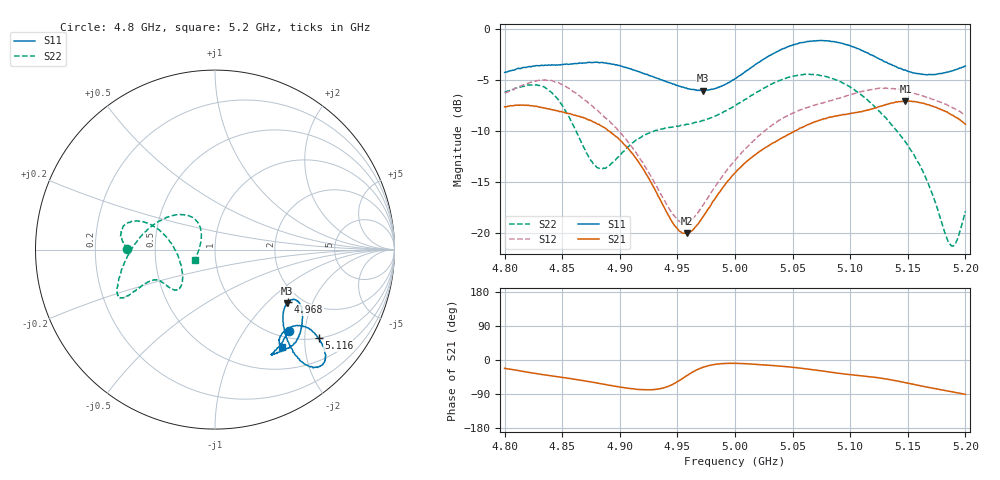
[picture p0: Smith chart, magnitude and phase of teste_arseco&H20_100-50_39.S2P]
! Network Analyzer HP8722D
! Hewlett-Packard
! Data name: Linha & Wilkinson
! Saver's name: Rodrigo Anjos
! Comments: Teste da utilização de aquisição
! continua pelo VNA HP8722D
! Time and date: 6/5/2025 12:53
!  Frequency  S11  S21  S12  S22
# HZ  S  MA R 50
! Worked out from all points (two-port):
!   401 points, 4.8 GHz to 5.2 GHz, reference 50 ohm
!   highest |S21| = -7.08 dB at 5.148 GHz (marker M1); lowest = -20.0 dB at 4.958 GHz (marker M2)
!   |S21| within 3 dB of the highest: start of sweep to 4.891 GHz; 5.051 GHz to end of sweep
!   lowest |S11| = -6.0 dB at 4.972 GHz (marker M3), VSWR 2.99, Z = 83.2 - j66.4 ohm
!   |S11| at or under -10 dB: nowhere
!   |S22| runs from -21.3 to -4.4 dB; largest |S21 - S12| = 0.95
!   S11 on the Smith chart (normalised r, x): 4.8 GHz: 1.13, -1.64; 4.968 GHz: 1.71, -1.33; 5.116 GHz: 1.01, -2.34; 5.2 GHz: 0.82, -1.57
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4.8e9  0.6127 -47.8  0.4155 -22.1  0.4856 -175.7  0.4927 179.9
4.836e9  0.6639 -61.6  0.4077 -39.9  0.5611 168.3  0.5114 163.7
4.851e9  0.6696 -59.9  0.3911 -46.4  0.53 158.4  0.4132 158.8
4.867e9  0.6787 -55.0  0.3691 -53.9  0.4597 150.7  0.275 166.0
4.886e9  0.6827 -48.6  0.3294 -63.8  0.3728 144.0  0.2081 -158.9
4.909e9  0.638 -40.5  0.2521 -75.2  0.271 137.8  0.2709 -133.6
4.934e9  0.5706 -33.1  0.1493 -76.4  0.1611 141.1  0.3213 -135.7
4.948e9  0.5333 -31.9  0.1079 -61.0  0.1199 157.2  0.3328 -141.3
4.958e9  0.5129 -33.1  0.0995 -41.6  0.1124 176.4  0.3408 -145.6
4.968e9  0.5001 -35.6  0.1106 -24.5  0.1262 -166.2  0.3491 -149.8
4.972e9  0.499 -37.0  0.1194 -19.3  0.1363 -161.2  0.3561 -150.9
5e9  0.5696 -47.9  0.1966 -9.0  0.2271 -146.9  0.4217 -154.1
5.039e9  0.7875 -52.4  0.2886 -16.2  0.3583 -148.0  0.5591 -151.9
5.067e9  0.8726 -48.4  0.3466 -25.3  0.4205 -154.5  0.5984 -155.2
5.089e9  0.8592 -44.4  0.3751 -34.6  0.4565 -160.3  0.5595 -163.3
5.116e9  0.7584 -40.5  0.4012 -44.1  0.502 -172.1  0.4425 175.2
5.134e9  0.6756 -40.2  0.4309 -51.6  0.5102 177.4  0.3491 152.9
5.148e9  0.6286 -42.6  0.4428 -59.9  0.4962 169.2  0.279 135.6
5.165e9  0.5976 -48.0  0.429 -70.5  0.4657 161.4  0.1898 123.0
5.187e9  0.62 -54.9  0.3823 -83.3  0.4179 153.7  0.08745 157.6
5.192e9  0.6326 -55.5  0.3681 -85.9  0.4028 151.9  0.09016 -178.8
5.2e9  0.6581 -55.7  0.3411 -90.6  0.3769 149.4  0.1278 -152.5
